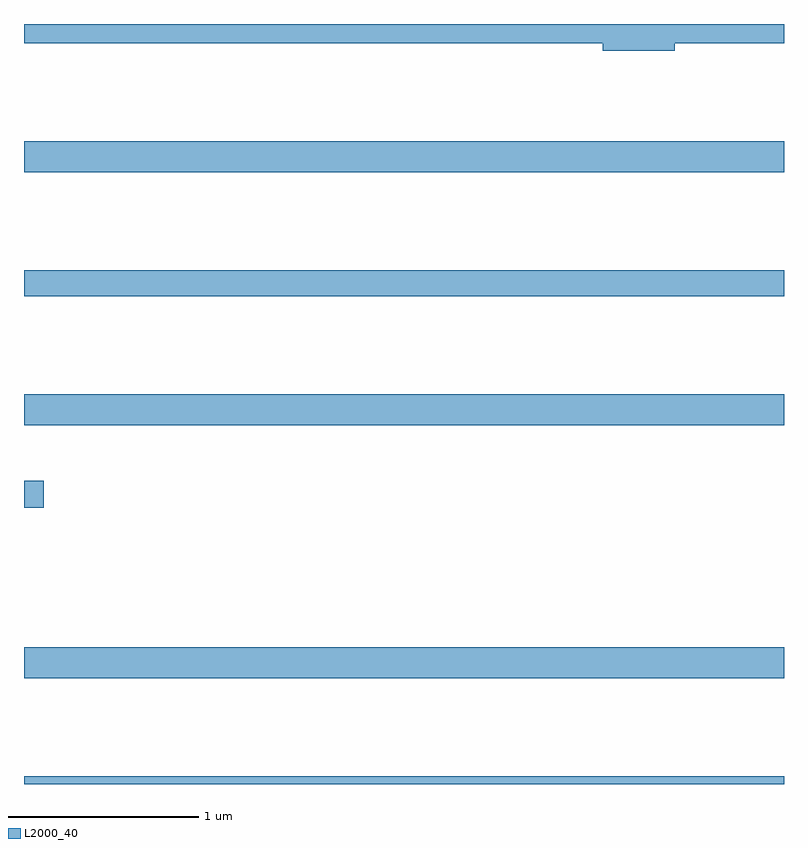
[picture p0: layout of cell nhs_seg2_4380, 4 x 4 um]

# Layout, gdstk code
import gdstk
lib = gdstk.Library(unit=1e-6, precision=1e-09)
def R(c, l, rs):  # rectangles x0, y0, x1, y1
    for r in rs: c.add(gdstk.rectangle(r[:2], r[2:], *l))
def A(c, l, x, y, w, h, nx, ny, dx, dy):  # array of equal rectangles
    R(c, l, [(x+i*dx, y+j*dy, x+i*dx+w, y+j*dy+h) for i in range(nx) for j in range(ny)])
def P(c, l, *ps):  # polygons
    for p in ps: c.add(gdstk.Polygon(p, *l))
L2000_40 = (2000, 40)

nhs_seg2_4380 = lib.new_cell('nhs_seg2_4380')
A(nhs_seg2_4380, L2000_40, 349, 594.356, 4, 0.164, 1, 3, 0, 1.332)
R(nhs_seg2_4380, L2000_40, [(349,593.8,353,593.84), (349,595.253,349.105,595.395), (349,596.368,353,596.504)])
P(nhs_seg2_4380, L2000_40, [(352.426,597.7),(353,597.7),(353,597.8),(349,597.8),(349,597.7),(352.046,597.7),(352.046,597.658),(352.426,597.658)])

lib.write_gds('nhs_seg2_4380.gds')
